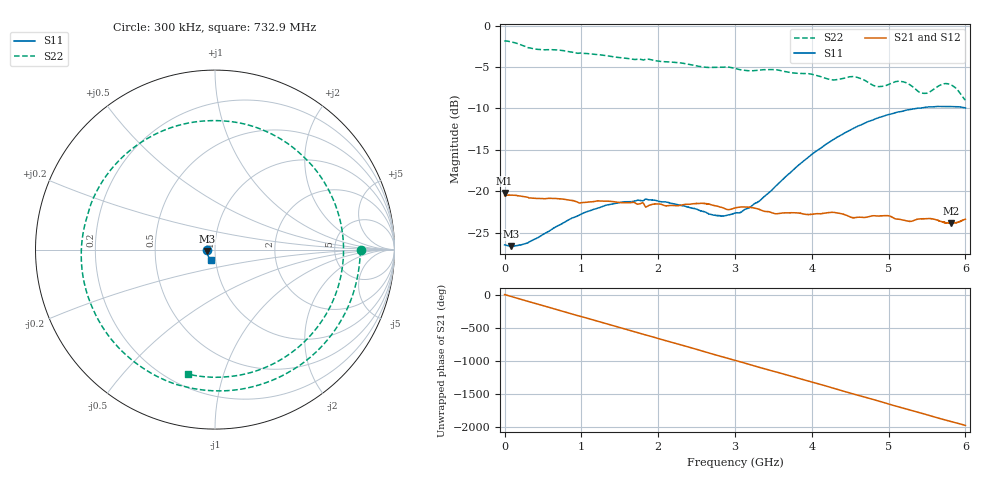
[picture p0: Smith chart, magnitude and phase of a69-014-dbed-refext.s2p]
!  3/18/2021  18:43:17
! Ref Plane: 13.288 mm
# MHZ S MA R  50
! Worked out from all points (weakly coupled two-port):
!   10001 points, 300 kHz to 6 GHz, reference 50 ohm
!   highest |S21| = -20.21 dB at 300 kHz (marker M1); lowest = -23.9 dB at 5.81 GHz (marker M2)
!   lowest |S11| = -26.6 dB at 83.7 MHz (marker M3), VSWR 1.10, Z = 45.6 - j0.707 ohm
!   |S11| at or under -10 dB: start of sweep to 5.358 GHz
!   |S22| runs from -9.0 to -1.8 dB; largest |S21 - S12| = 0.0025
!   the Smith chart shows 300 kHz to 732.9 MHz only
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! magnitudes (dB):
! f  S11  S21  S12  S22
! 300 kHz  -26.5  -20.2  -20.4  -1.8
! 83.7 MHz  -26.6  -20.5  -20.5  -1.9
! 309.3 MHz  -26.2  -20.8  -20.8  -2.7
! 1 GHz  -22.8  -21.4  -21.4  -3.3
! 1.531 GHz  -21.3  -21.4  -21.4  -3.9
! 1.851 GHz  -21.0  -21.9  -21.9  -4.0
! 2.001 GHz  -21.2  -21.5  -21.5  -4.3
! 2.74 GHz  -22.9  -21.8  -21.7  -5.0
! 2.907 GHz  -22.9  -22.2  -22.2  -5.0
! 3 GHz  -22.6  -22.0  -22.0  -5.2
! 3.319 GHz  -21.2  -22.2  -22.2  -5.4
! 3.532 GHz  -19.4  -22.7  -22.7  -5.3
! 4 GHz  -15.6  -22.8  -22.8  -5.9
! 4.276 GHz  -13.8  -22.5  -22.6  -6.6
! 4.553 GHz  -12.3  -23.2  -23.2  -6.2
! 4.837 GHz  -11.2  -23.0  -23.0  -7.3
! 5 GHz  -10.7  -23.0  -23.0  -7.1
! 5.194 GHz  -10.3  -23.5  -23.5  -6.8
! 5.469 GHz  -9.9  -23.3  -23.3  -8.2
! 5.7 GHz  -9.8  -23.7  -23.7  -7.1
! 5.81 GHz  -9.8  -23.9  -23.9  -7.1
! 6 GHz  -9.9  -23.4  -23.3  -9.0
